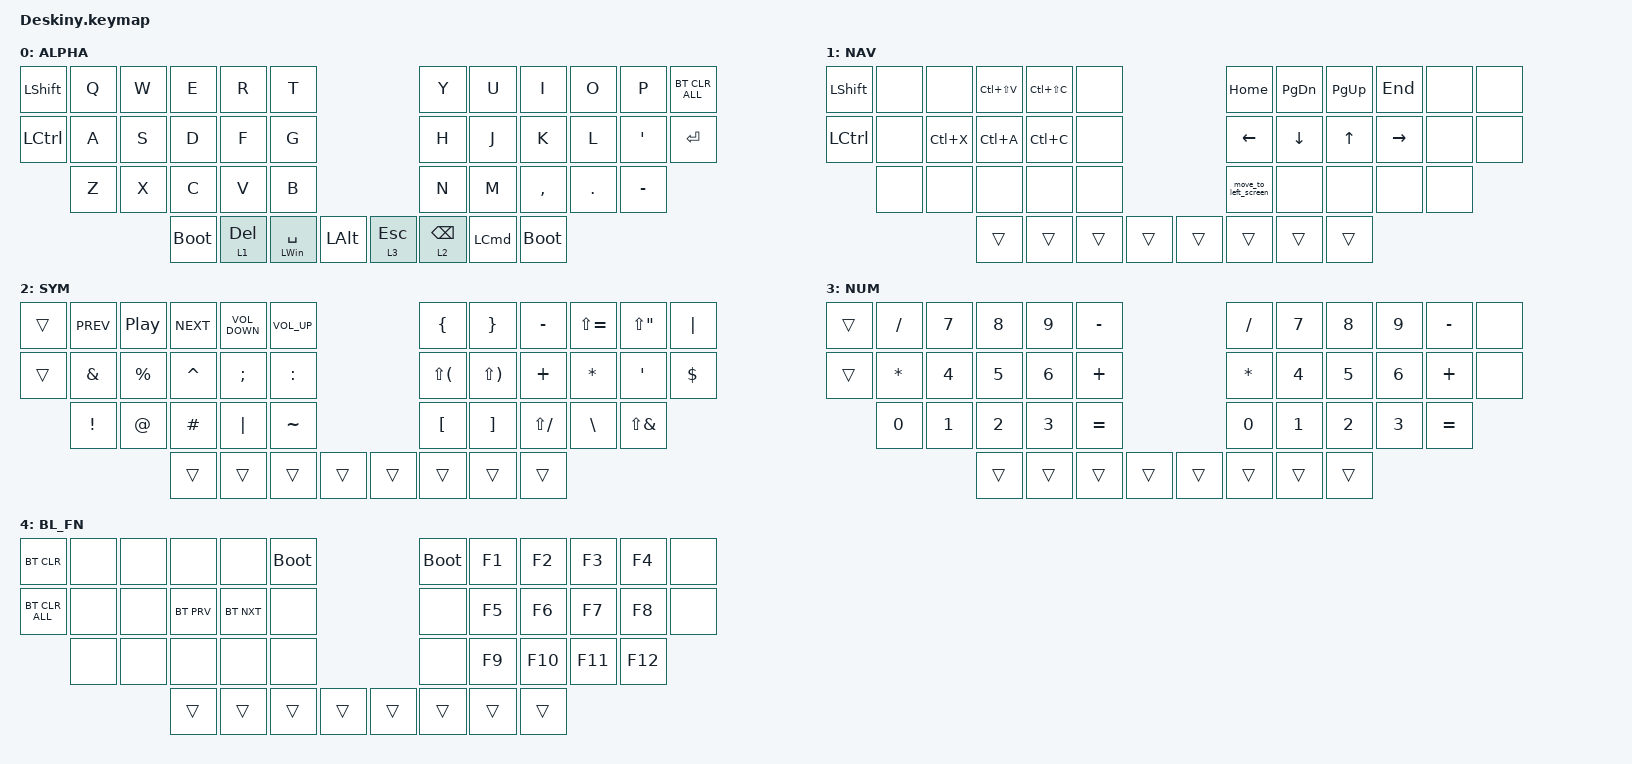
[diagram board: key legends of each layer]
#include <behaviors.dtsi>
#include <dt-bindings/zmk/bt.h>
#include <dt-bindings/zmk/keys.h>

/ {
    macros {
        move_to_left_screen: move_to_left_screen {
            compatible = "zmk,behavior-macro";
            #binding-cells = <0>;
            bindings = <&kp LEFT_COMMAND &kp LEFT_ALT &kp LEFT_CONTROL &kp LEFT>;
            label = "MOVE_TO_LEFT_SCREEN";
        };
    };

    keymap {
        compatible = "zmk,keymap";

        ALPHA {
            bindings = <
&kp LSHFT         &kp Q  &kp W  &kp E           &kp R         &kp T                                        &kp Y            &kp U             &kp I        &kp O    &kp P      &bt BT_CLR_ALL
&kp LEFT_CONTROL  &kp A  &kp S  &kp D           &kp F         &kp G                                        &kp H            &kp J             &kp K        &kp L    &kp SQT    &kp RETURN
                  &kp Z  &kp X  &kp C           &kp V         &kp B                                        &kp N            &kp M             &kp COMMA    &kp DOT  &kp MINUS
                                &bootloader     &lt 1 DELETE  &mt LEFT_WIN SPACE  &kp LEFT_ALT  &lt 3 ESC  &lt 2 BACKSPACE  &kp LEFT_COMMAND  &bootloader
            >;
        };

        NAV {
            bindings = <
&kp LSHFT  &none  &none      &kp LC(LS(V))  &kp LC(LS(C))  &none                   &kp HOME              &kp PAGE_DOWN  &kp PG_UP  &kp END    &none  &none
&kp LCTRL  &none  &kp LC(X)  &kp LC(A)      &kp LC(C)      &none                   &kp LEFT              &kp DOWN       &kp UP     &kp RIGHT  &none  &none
           &none  &none      &none          &none          &none                   &move_to_left_screen  &none          &none      &none      &none
                             &trans         &trans         &trans  &trans  &trans  &trans                &trans         &trans
            >;
        };

        SYM {
            bindings = <
&trans  &kp C_PREV       &kp C_PLAY_PAUSE  &kp C_NEXT  &kp C_VOLUME_DOWN  &kp C_VOLUME_UP                  &kp LBRC      &kp RBRC      &kp MINUS     &kp LS(EQUAL)  &kp LS(DQT)   &kp PIPE
&trans  &kp AMPERSAND    &kp PERCENT       &kp CARET   &kp SEMICOLON      &kp COLON                        &kp LS(LPAR)  &kp LS(RPAR)  &kp PLUS      &kp STAR       &kp SQT       &kp DOLLAR
        &kp EXCLAMATION  &kp AT_SIGN       &kp HASH    &kp PIPE           &kp TILDE                        &kp LBKT      &kp RBKT      &kp LS(FSLH)  &kp BSLH       &kp LS(AMPS)
                                           &trans      &trans             &trans           &trans  &trans  &trans        &trans        &trans
            >;
        };

        NUM {
            bindings = <
&trans  &kp FSLH  &kp N7  &kp N8  &kp N9  &kp MINUS                  &kp FSLH  &kp N7  &kp N8  &kp N9  &kp MINUS  &none
&trans  &kp STAR  &kp N4  &kp N5  &kp N6  &kp PLUS                   &kp STAR  &kp N4  &kp N5  &kp N6  &kp PLUS   &none
        &kp N0    &kp N1  &kp N2  &kp N3  &kp EQUAL                  &kp N0    &kp N1  &kp N2  &kp N3  &kp EQUAL
                          &trans  &trans  &trans     &trans  &trans  &trans    &trans  &trans
            >;
        };

        BL_FN {
            bindings = <
&bt BT_CLR      &none  &none  &none       &none       &bootloader                  &bootloader  &kp F1  &kp F2   &kp F3   &kp F4   &none
&bt BT_CLR_ALL  &none  &none  &bt BT_PRV  &bt BT_NXT  &none                        &none        &kp F5  &kp F6   &kp F7   &kp F8   &none
                &none  &none  &none       &none       &none                        &none        &kp F9  &kp F10  &kp F11  &kp F12
                              &trans      &trans      &trans       &trans  &trans  &trans       &trans  &trans
            >;
        };
    };
};
